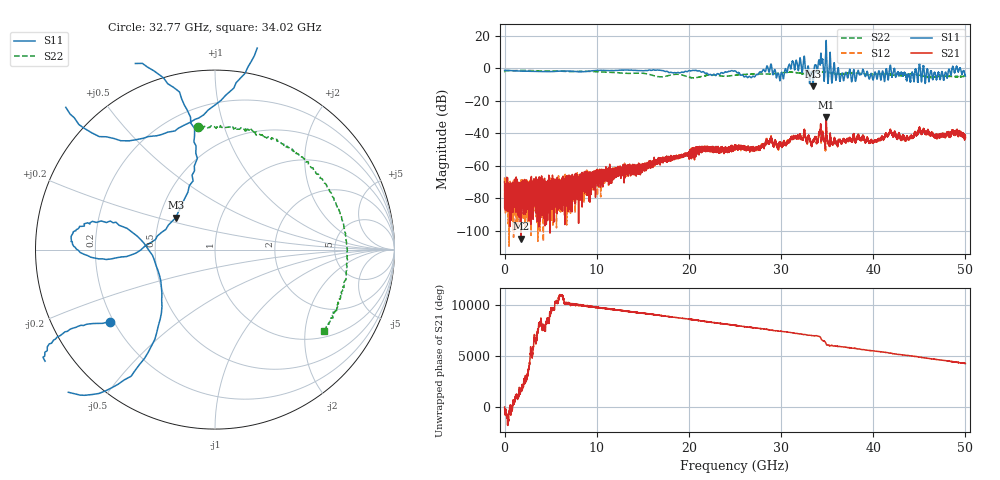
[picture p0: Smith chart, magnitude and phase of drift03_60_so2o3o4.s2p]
!Created with skrf (http://scikit-rf.org).
# Hz S RI R 50.0
!freq ReS11 ImS11 ReS21 ImS21 ReS12 ImS12 ReS22 ImS22
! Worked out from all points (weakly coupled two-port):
!   10001 points, 300 kHz to 50 GHz, reference 50 ohm
!   highest |S21| = -30.04 dB at 34.89 GHz (marker M1); lowest = -104.7 dB at 1.76 GHz (marker M2)
!   lowest |S11| = -11.0 dB at 33.47 GHz (marker M3), VSWR 1.78, Z = 30.4 + j11.7 ohm
!   |S11| at or under -10 dB: 33.44902 GHz to 33.4837 GHz (34.68 MHz wide, 0.104 % of centre)
!   |S22| runs from -5.9 to -1.3 dB; largest |S21 - S12| = 0.0088
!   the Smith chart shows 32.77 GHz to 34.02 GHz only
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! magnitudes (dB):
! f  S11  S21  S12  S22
! 300 kHz  -1.3  -69.8  -67.2  -2.0
! 335.3 MHz  -1.3  -87.9  -74.9  -1.4
! 1.76 GHz  -1.7  -104.7  -76.8  -1.4
! 8.335 GHz  -2.2  -70.5  -74.6  -1.9
! 16.67 GHz  -1.1  -56.6  -55.7  -5.2
! 25 GHz  -1.5  -49.1  -48.4  -4.3
! 26.92 GHz  -4.9  -50.6  -49.4  -3.6
! 28.72 GHz  -2.3  -44.8  -45.1  -3.6
! 30.06 GHz  -2.5  -48.0  -47.4  -2.8
! 31.87 GHz  -1.4  -43.0  -41.9  -2.9
! 33.34 GHz  -2.2  -47.6  -46.8  -2.9
! 33.47 GHz  -11.0  -44.7  -44.5  -2.8
! 34.29 GHz  6.1  -36.1  -35.6  -2.3
! 34.89 GHz  16.9  -30.0  -32.8  -2.4
! 36.58 GHz  -3.5  -45.8  -45.8  -3.6
! 40.14 GHz  -3.1  -44.8  -44.4  -3.7
! 41.67 GHz  -5.5  -40.7  -40.7  -3.7
! 43.84 GHz  -3.8  -43.6  -43.5  -3.9
! 45.2 GHz  -7.2  -39.1  -39.0  -4.5
! 47.06 GHz  -2.6  -40.5  -41.4  -5.0
! 49.21 GHz  -2.0  -41.1  -40.0  -5.2
! 50 GHz  -4.8  -42.7  -42.1  -4.9
